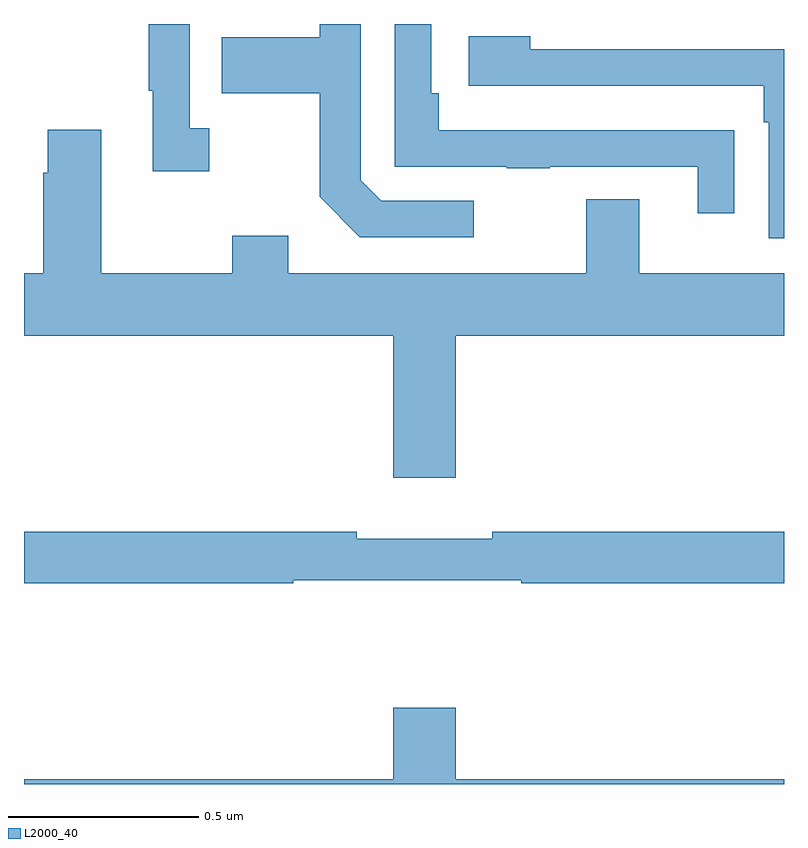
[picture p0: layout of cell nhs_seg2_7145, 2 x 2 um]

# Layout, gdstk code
import gdstk
lib = gdstk.Library(unit=1e-6, precision=1e-09)
def P(c, l, *ps):  # polygons
    for p in ps: c.add(gdstk.Polygon(p, *l))
L2000_40 = (2000, 40)

nhs_seg2_7145 = lib.new_cell('nhs_seg2_7145')
P(nhs_seg2_7145, L2000_40, [(200.488,637.526),(200.436,637.526),(200.436,637.8),(200.328,637.8),(200.328,637.625),(200.339,637.625),(200.339,637.413),(200.488,637.413)],
  [(201.184,637.335),(200.94,637.335),(200.886,637.389),(200.886,637.8),(200.778,637.8),(200.778,637.765),(200.521,637.765),(200.521,637.618),(200.778,637.618),(200.778,637.345),(200.883,637.239),(201.184,637.239)],
  [(201.869,637.52),(201.767,637.52),(201.767,637.521),(201.092,637.521),(201.092,637.618),(201.072,637.618),(201.072,637.8),(200.976,637.8),(200.976,637.425),(201.271,637.425),(201.271,637.42),(201.383,637.42),(201.383,637.425),(201.773,637.425),(201.773,637.302),(201.869,637.302)],
  [(202,637.734),(201.332,637.734),(201.332,637.768),(201.171,637.768),(201.171,637.638),(201.947,637.638),(201.947,637.541),(201.96,637.541),(201.96,637.236),(202,637.236)],
  [(201.136,636.98),(202,636.98),(202,637.144),(201.619,637.144),(201.619,637.339),(201.479,637.339),(201.479,637.144),(200.695,637.144),(200.695,637.243),(200.548,637.243),(200.548,637.144),(200.203,637.144),(200.203,637.522),(200.063,637.522),(200.063,637.409),(200.051,637.409),(200.051,637.144),(200,637.144),(200,636.98),(200.972,636.98),(200.972,636.606),(201.136,636.606)],
  [(200.708,636.336),(201.308,636.336),(201.308,636.328),(202,636.328),(202,636.464),(201.232,636.464),(201.232,636.445),(200.876,636.445),(200.876,636.464),(200,636.464),(200,636.328),(200.708,636.328)],
  [(202,635.812),(201.136,635.812),(201.136,636.001),(200.972,636.001),(200.972,635.812),(200,635.812),(200,635.8),(202,635.8)])

lib.write_gds('nhs_seg2_7145.gds')
